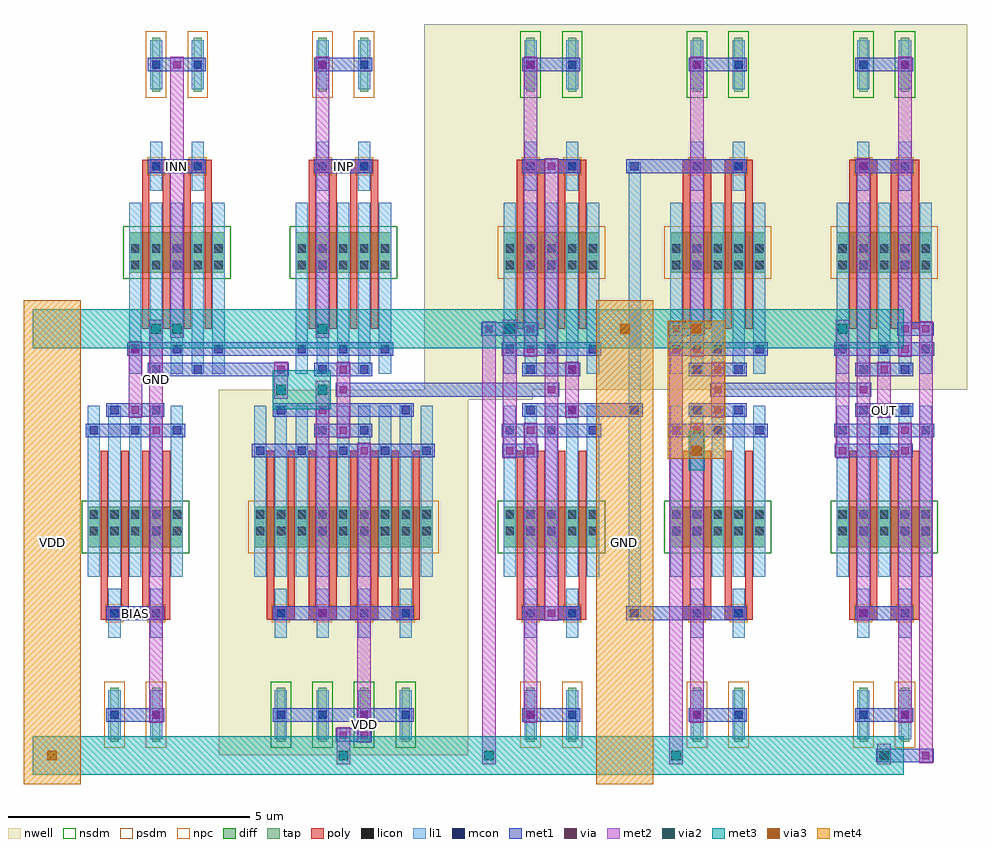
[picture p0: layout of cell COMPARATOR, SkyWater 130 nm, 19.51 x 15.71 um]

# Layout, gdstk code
import gdstk
lib = gdstk.Library(unit=1e-6, precision=1e-09)
def R(c, l, rs):  # rectangles x0, y0, x1, y1
    for r in rs: c.add(gdstk.rectangle(r[:2], r[2:], *l))
def A(c, l, x, y, w, h, nx, ny, dx, dy):  # array of equal rectangles
    R(c, l, [(x+i*dx, y+j*dy, x+i*dx+w, y+j*dy+h) for i in range(nx) for j in range(ny)])
nwell = (64, 20)
diff = (65, 20)
tap = (65, 44)
poly = (66, 20)
licon = (66, 44)
li1 = (67, 20)
mcon = (67, 44)
met1 = (68, 20)
via = (68, 44)
met2 = (69, 20)
via2 = (69, 44)
met3 = (70, 20)
via3 = (70, 44)
met4 = (71, 20)
nsdm = (93, 44)
psdm = (94, 20)
npc = (95, 20)

comparator = lib.new_cell('COMPARATOR')
R(comparator, nwell, [(4.03,0.59,9.19,7.94), (4.03,7.94,10.53,8.15), (8.28,8.15,19.51,15.71)])
A(comparator, diff, 9.925, 4.895, 1.97, 0.84, 3, 2, 3.44, 5.67)
R(comparator, diff, [(1.325,4.895,3.295,5.735), (4.765,4.895,8.455,5.735), (2.185,10.565,4.155,11.405), (5.625,10.565,7.595,11.405)])
A(comparator, tap, 5.235, 0.87, 0.17, 1.12, 4, 1, 0.86, 0)
R(comparator, tap, [(1.795,0.87,1.965,1.99), (2.655,0.87,2.825,1.99), (10.395,0.87,10.565,1.99), (11.255,0.87,11.425,1.99), (13.835,0.87,14.005,1.99), (14.695,0.87,14.865,1.99), (17.275,0.87,17.445,1.99), (18.135,0.87,18.305,1.99), (2.655,14.31,2.825,15.43), (3.515,14.31,3.685,15.43), (6.095,14.31,6.265,15.43), (6.955,14.31,7.125,15.43), (10.395,14.31,10.565,15.43), (11.255,14.31,11.425,15.43), (13.835,14.31,14.005,15.43), (14.695,14.31,14.865,15.43), (17.275,14.31,17.445,15.43), (18.135,14.31,18.305,15.43)])
A(comparator, poly, 5.03, 3.395, 0.58, 0.27, 4, 1, 0.86, 0)
A(comparator, poly, 1.59, 3.665, 0.15, 3.225, 4, 1, 0.43, 0)
A(comparator, poly, 5.03, 3.665, 0.15, 3.225, 8, 1, 0.43, 0)
A(comparator, poly, 10.19, 3.665, 0.15, 3.225, 4, 2, 0.43, 5.745)
A(comparator, poly, 13.63, 3.665, 0.15, 3.225, 4, 2, 0.43, 5.745)
A(comparator, poly, 17.07, 3.665, 0.15, 3.225, 4, 2, 0.43, 5.745)
A(comparator, poly, 2.45, 9.41, 0.15, 3.225, 4, 1, 0.43, 0)
A(comparator, poly, 5.89, 9.41, 0.15, 3.225, 4, 1, 0.43, 0)
R(comparator, poly, [(1.59,3.395,2.17,3.665), (2.45,3.395,3.03,3.665), (10.19,3.395,10.77,3.665), (11.05,3.395,11.63,3.665), (13.63,3.395,14.21,3.665), (14.49,3.395,15.07,3.665), (17.07,3.395,17.65,3.665), (17.93,3.395,18.51,3.665), (2.45,12.635,3.03,12.905), (3.31,12.635,3.89,12.905), (5.89,12.635,6.47,12.905), (6.75,12.635,7.33,12.905), (10.19,12.635,10.77,12.905), (11.05,12.635,11.63,12.905), (13.63,12.635,14.21,12.905), (14.49,12.635,15.07,12.905), (17.07,12.635,17.65,12.905), (17.93,12.635,18.51,12.905)])
A(comparator, licon, 5.235, 1.345, 0.17, 0.17, 4, 2, 0.86, 2.1)
A(comparator, licon, 1.365, 5.145, 0.17, 0.17, 5, 2, 0.43, 0.34)
A(comparator, licon, 4.805, 5.145, 0.17, 0.17, 9, 2, 0.43, 0.34)
A(comparator, licon, 9.965, 5.145, 0.17, 0.17, 5, 2, 0.43, 0.34)
A(comparator, licon, 13.405, 5.145, 0.17, 0.17, 5, 2, 0.43, 0.34)
A(comparator, licon, 16.845, 5.145, 0.17, 0.17, 5, 2, 0.43, 0.34)
A(comparator, licon, 2.225, 10.645, 0.17, 0.17, 5, 2, 0.43, 0.34)
A(comparator, licon, 5.665, 10.645, 0.17, 0.17, 5, 2, 0.43, 0.34)
A(comparator, licon, 9.965, 10.645, 0.17, 0.17, 5, 2, 0.43, 0.34)
A(comparator, licon, 13.405, 10.645, 0.17, 0.17, 5, 2, 0.43, 0.34)
A(comparator, licon, 16.845, 10.645, 0.17, 0.17, 5, 2, 0.43, 0.34)
R(comparator, licon, [(1.795,1.345,1.965,1.515), (2.655,1.345,2.825,1.515), (10.395,1.345,10.565,1.515), (11.255,1.345,11.425,1.515), (13.835,1.345,14.005,1.515), (14.695,1.345,14.865,1.515), (17.275,1.345,17.445,1.515), (18.135,1.345,18.305,1.515), (1.795,3.445,1.965,3.615), (2.655,3.445,2.825,3.615), (10.395,3.445,10.565,3.615), (11.255,3.445,11.425,3.615), (13.835,3.445,14.005,3.615), (14.695,3.445,14.865,3.615), (17.275,3.445,17.445,3.615), (18.135,3.445,18.305,3.615), (2.655,12.685,2.825,12.855), (3.515,12.685,3.685,12.855), (6.095,12.685,6.265,12.855), (6.955,12.685,7.125,12.855), (10.395,12.685,10.565,12.855), (11.255,12.685,11.425,12.855), (13.835,12.685,14.005,12.855), (14.695,12.685,14.865,12.855), (17.275,12.685,17.445,12.855), (18.135,12.685,18.305,12.855), (2.655,14.785,2.825,14.955), (3.515,14.785,3.685,14.955), (6.095,14.785,6.265,14.955), (6.955,14.785,7.125,14.955), (10.395,14.785,10.565,14.955), (11.255,14.785,11.425,14.955), (13.835,14.785,14.005,14.955), (14.695,14.785,14.865,14.955), (17.275,14.785,17.445,14.955), (18.135,14.785,18.305,14.955)])
A(comparator, li1, 5.195, 0.925, 0.25, 1.01, 4, 2, 0.86, 2.1)
A(comparator, li1, 1.325, 4.285, 0.25, 3.53, 5, 1, 0.43, 0)
A(comparator, li1, 4.765, 4.285, 0.25, 3.53, 9, 1, 0.43, 0)
A(comparator, li1, 9.925, 4.285, 0.25, 3.53, 5, 2, 0.43, 4.2)
A(comparator, li1, 13.365, 4.285, 0.25, 3.53, 5, 2, 0.43, 4.2)
A(comparator, li1, 16.805, 4.285, 0.25, 3.53, 5, 2, 0.43, 4.2)
A(comparator, li1, 2.185, 8.485, 0.25, 3.53, 5, 1, 0.43, 0)
A(comparator, li1, 5.625, 8.485, 0.25, 3.53, 5, 1, 0.43, 0)
R(comparator, li1, [(1.755,0.925,2.005,1.935), (2.615,0.925,2.865,1.935), (10.355,0.925,10.605,1.935), (11.215,0.925,11.465,1.935), (13.795,0.925,14.045,1.935), (14.655,0.925,14.905,1.935), (17.235,0.925,17.485,1.935), (18.095,0.925,18.345,1.935), (1.755,3.025,2.005,4.035), (2.615,3.025,2.865,4.035), (10.355,3.025,10.605,4.035), (11.215,3.025,11.465,4.035), (13.795,3.025,14.045,4.035), (14.655,3.025,14.905,4.035), (17.235,3.025,17.485,4.035), (18.095,3.025,18.345,4.035), (12.505,3.445,12.755,12.855), (2.615,12.265,2.865,13.275), (3.475,12.265,3.725,13.275), (6.055,12.265,6.305,13.275), (6.915,12.265,7.165,13.275), (10.355,12.265,10.605,13.275), (11.215,12.265,11.465,13.275), (13.795,12.265,14.045,13.275), (14.655,12.265,14.905,13.275), (17.235,12.265,17.485,13.275), (18.095,12.265,18.345,13.275), (2.615,14.365,2.865,15.375), (3.475,14.365,3.725,15.375), (6.055,14.365,6.305,15.375), (6.915,14.365,7.165,15.375), (10.355,14.365,10.605,15.375), (11.215,14.365,11.465,15.375), (13.795,14.365,14.045,15.375), (14.655,14.365,14.905,15.375), (17.235,14.365,17.485,15.375), (18.095,14.365,18.345,15.375)])
A(comparator, mcon, 5.235, 1.345, 0.17, 0.17, 4, 2, 0.86, 2.1)
A(comparator, mcon, 11.255, 3.445, 0.17, 0.17, 3, 2, 1.29, 4.2)
A(comparator, mcon, 4.805, 6.805, 0.17, 0.17, 5, 1, 0.86, 0)
A(comparator, mcon, 1.365, 7.225, 0.17, 0.17, 3, 1, 0.86, 0)
A(comparator, mcon, 9.965, 7.225, 0.17, 0.17, 3, 2, 0.86, 1.68)
A(comparator, mcon, 13.405, 7.225, 0.17, 0.17, 3, 2, 0.86, 1.68)
A(comparator, mcon, 16.845, 7.225, 0.17, 0.17, 3, 2, 0.86, 1.68)
A(comparator, mcon, 2.655, 7.645, 0.17, 0.17, 4, 1, 2.58, 0)
A(comparator, mcon, 2.225, 8.905, 0.17, 0.17, 3, 1, 0.86, 0)
A(comparator, mcon, 5.665, 8.905, 0.17, 0.17, 3, 1, 0.86, 0)
A(comparator, mcon, 11.255, 12.685, 0.17, 0.17, 3, 1, 1.29, 0)
R(comparator, mcon, [(1.795,1.345,1.965,1.515), (2.655,1.345,2.825,1.515), (10.395,1.345,10.565,1.515), (11.255,1.345,11.425,1.515), (13.835,1.345,14.005,1.515), (14.695,1.345,14.865,1.515), (17.275,1.345,17.445,1.515), (18.135,1.345,18.305,1.515), (1.795,3.445,1.965,3.615), (2.655,3.445,2.825,3.615), (10.395,3.445,10.565,3.615), (14.695,3.445,14.865,3.615), (17.275,3.445,17.445,3.615), (18.135,3.445,18.305,3.615), (6.095,7.225,6.265,7.395), (6.955,7.225,7.125,7.395), (1.795,7.645,1.965,7.815), (14.695,7.645,14.865,7.815), (17.275,7.645,17.445,7.815), (18.135,7.645,18.305,7.815), (2.655,8.485,2.825,8.655), (3.515,8.485,3.685,8.655), (6.095,8.485,6.265,8.655), (6.955,8.485,7.125,8.655), (10.395,8.485,10.565,8.655), (11.255,8.485,11.425,8.655), (13.835,8.485,14.005,8.655), (14.695,8.485,14.865,8.655), (17.275,8.485,17.445,8.655), (18.135,8.485,18.305,8.655), (2.655,12.685,2.825,12.855), (3.515,12.685,3.685,12.855), (6.095,12.685,6.265,12.855), (6.955,12.685,7.125,12.855), (10.395,12.685,10.565,12.855), (14.695,12.685,14.865,12.855), (17.275,12.685,17.445,12.855), (18.135,12.685,18.305,12.855), (2.655,14.785,2.825,14.955), (3.515,14.785,3.685,14.955), (6.095,14.785,6.265,14.955), (6.955,14.785,7.125,14.955), (10.395,14.785,10.565,14.955), (11.255,14.785,11.425,14.955), (13.835,14.785,14.005,14.955), (14.695,14.785,14.865,14.955), (17.275,14.785,17.445,14.955), (18.135,14.785,18.305,14.955)])
A(comparator, met1, 10.31, 1.29, 1.2, 0.28, 3, 2, 3.44, 7.14)
A(comparator, met1, 9.88, 7.17, 2.06, 0.28, 3, 2, 3.44, 1.68)
A(comparator, met1, 10.31, 14.73, 1.2, 0.28, 3, 1, 3.44, 0)
R(comparator, met1, [(17.63,0.45,18.81,0.73), (6.45,0.87,7.2,1.15), (1.71,1.29,2.91,1.57), (5.15,1.29,8.07,1.57), (1.71,3.39,2.91,3.67), (5.15,3.39,8.07,3.67), (10.31,3.39,11.51,3.67), (12.46,3.39,14.95,3.67), (17.19,3.39,18.39,3.67), (4.72,6.75,8.5,7.03), (9.89,6.75,10.64,7.03), (16.77,6.75,18.38,7.03), (1.28,7.17,3.34,7.45), (6.01,7.17,7.21,7.45), (1.71,7.59,2.91,7.87), (5.15,7.59,8.07,7.87), (10.31,7.59,12.8,7.87), (13.75,7.59,14.95,7.87), (17.19,7.59,18.39,7.87), (6.45,8.01,11.07,8.29), (14.19,8.01,17.52,8.29), (2.57,8.43,5.48,8.71), (6.01,8.43,7.21,8.71), (2.14,8.85,7.64,9.13), (9.46,9.27,10.64,9.55), (13.33,9.27,14.08,9.55), (18.06,9.27,18.81,9.55), (2.57,12.63,3.77,12.91), (6.01,12.63,7.21,12.91), (10.31,12.63,11.51,12.91), (12.46,12.63,14.95,12.91), (17.19,12.63,18.39,12.91), (2.57,14.73,3.77,15.01), (6.01,14.73,7.21,15.01)])
A(comparator, via, 6.965, 1.355, 0.15, 0.15, 3, 1, 3.44, 0)
A(comparator, via, 10.835, 3.455, 0.15, 0.15, 1, 3, 0, 4.62)
A(comparator, via, 17.285, 3.455, 0.15, 0.15, 1, 3, 0, 4.62)
A(comparator, via, 2.665, 7.235, 0.15, 0.15, 3, 1, 3.87, 0)
A(comparator, via, 14.275, 7.655, 0.15, 0.15, 1, 3, 0, 0.42)
R(comparator, via, [(17.715,0.515,17.865,0.665), (18.575,0.515,18.725,0.665), (6.535,0.935,6.685,1.085), (6.965,0.935,7.115,1.085), (2.665,1.355,2.815,1.505), (18.145,1.355,18.295,1.505), (6.105,3.455,6.255,3.605), (6.965,6.815,7.115,6.965), (9.975,6.815,10.125,6.965), (10.405,6.815,10.555,6.965), (16.855,6.815,17.005,6.965), (18.145,6.815,18.295,6.965), (13.845,7.235,13.995,7.385), (18.145,7.235,18.295,7.385), (2.235,7.655,2.385,7.805), (6.105,7.655,6.255,7.805), (11.265,7.655,11.415,7.805), (17.715,7.655,17.865,7.805), (6.535,8.075,6.685,8.225), (5.245,8.495,5.395,8.645), (6.535,8.495,6.685,8.645), (11.265,8.495,11.415,8.645), (17.715,8.495,17.865,8.645), (2.235,8.915,2.385,9.065), (10.405,8.915,10.555,9.065), (13.845,8.915,13.995,9.065), (18.145,8.915,18.295,9.065), (9.545,9.335,9.695,9.485), (10.405,9.335,10.555,9.485), (13.415,9.335,13.565,9.485), (13.845,9.335,13.995,9.485), (18.145,9.335,18.295,9.485), (18.575,9.335,18.725,9.485), (3.095,14.795,3.245,14.945), (6.105,14.795,6.255,14.945), (10.405,14.795,10.555,14.945), (13.845,14.795,13.995,14.945), (18.145,14.795,18.295,14.945)])
R(comparator, met2, [(6.47,0.405,6.75,1.17), (9.48,0.405,9.76,9.57), (13.35,0.405,13.63,9.57), (17.65,0.405,17.93,0.83), (18.51,0.43,18.79,9.57), (6.9,0.85,7.18,7.05), (2.6,1.27,2.88,9.595), (10.34,1.27,10.62,7.47), (13.78,1.27,14.06,7.47), (18.08,1.27,18.36,7.47), (6.04,3.37,6.32,8.335), (10.77,3.37,11.05,12.93), (17.22,3.37,17.5,12.93), (9.91,6.73,10.19,9.595), (16.79,6.73,17.07,9.595), (6.47,7.15,6.75,8.73), (2.17,7.57,2.45,9.15), (11.2,7.57,11.48,8.73), (14.21,7.57,14.49,8.73), (17.65,7.57,17.93,8.73), (5.18,7.965,5.46,8.73), (10.34,8.83,10.62,15.03), (13.78,8.83,14.06,15.03), (18.08,8.83,18.36,15.03), (3.03,9.225,3.31,15.03), (6.04,9.225,6.32,15.03)])
R(comparator, via2, [(6.51,0.49,6.71,0.69), (9.52,0.49,9.72,0.69), (13.39,0.49,13.59,0.69), (17.69,0.49,17.89,0.69), (13.82,6.79,14.02,6.99), (5.22,8.05,5.42,8.25), (6.08,8.05,6.28,8.25), (2.64,9.31,2.84,9.51), (3.07,9.31,3.27,9.51), (6.08,9.31,6.28,9.51), (9.95,9.31,10.15,9.51), (16.83,9.31,17.03,9.51)])
R(comparator, met3, [(0.19,0.19,18.19,0.99), (13.745,6.49,14.085,7.29), (5.155,7.75,6.345,8.55), (0.19,9.01,18.19,9.81)])
R(comparator, via3, [(0.49,0.49,0.69,0.69), (13.81,6.79,14.01,6.99), (12.33,9.31,12.53,9.51), (13.81,9.31,14.01,9.51)])
R(comparator, met4, [(0,0,1.18,10), (11.84,0,13.02,10), (13.32,6.725,14.5,9.575)])
A(comparator, nsdm, 5.11, 0.745, 0.42, 1.37, 4, 1, 0.86, 0)
A(comparator, nsdm, 9.8, 4.77, 2.22, 1.09, 3, 1, 3.44, 0)
R(comparator, nsdm, [(1.2,4.77,3.42,5.86), (2.06,10.44,4.28,11.53), (5.5,10.44,7.72,11.53), (10.27,14.185,10.69,15.555), (11.13,14.185,11.55,15.555), (13.71,14.185,14.13,15.555), (14.57,14.185,14.99,15.555), (17.15,14.185,17.57,15.555), (18.01,14.185,18.43,15.555)])
A(comparator, psdm, 9.8, 10.44, 2.22, 1.09, 3, 1, 3.44, 0)
R(comparator, psdm, [(1.67,0.745,2.09,2.115), (2.53,0.745,2.95,2.115), (10.27,0.745,10.69,2.115), (11.13,0.745,11.55,2.115), (13.71,0.745,14.13,2.115), (14.57,0.745,14.99,2.115), (17.15,0.745,17.57,2.115), (18.01,0.745,18.43,2.115), (4.64,4.77,8.58,5.86), (2.53,14.185,2.95,15.555), (3.39,14.185,3.81,15.555), (5.97,14.185,6.39,15.555), (6.83,14.185,7.25,15.555)])
A(comparator, npc, 5.135, 3.345, 0.37, 0.37, 4, 1, 0.86, 0)
R(comparator, npc, [(1.695,3.345,2.065,3.715), (2.555,3.345,2.925,3.715), (10.295,3.345,10.665,3.715), (11.155,3.345,11.525,3.715), (13.735,3.345,14.105,3.715), (14.595,3.345,14.965,3.715), (17.175,3.345,17.545,3.715), (18.035,3.345,18.405,3.715), (2.555,12.585,2.925,12.955), (3.415,12.585,3.785,12.955), (5.995,12.585,6.365,12.955), (6.855,12.585,7.225,12.955), (10.295,12.585,10.665,12.955), (11.155,12.585,11.525,12.955), (13.735,12.585,14.105,12.955), (14.595,12.585,14.965,12.955), (17.175,12.585,17.545,12.955), (18.035,12.585,18.405,12.955)])
comparator.add(gdstk.Label('OUT', (17.79,7.73), layer=68, texttype=5))
comparator.add(gdstk.Label('BIAS', (2.31,3.53), layer=68, texttype=5))
comparator.add(gdstk.Label('INN', (3.17,12.77), layer=68, texttype=5))
comparator.add(gdstk.Label('INP', (6.61,12.77), layer=68, texttype=5))
comparator.add(gdstk.Label('GND', (2.74,8.36), layer=69, texttype=5))
comparator.add(gdstk.Label('GND', (12.43,5), layer=71, texttype=5))
comparator.add(gdstk.Label('VDD', (7.04,1.22), layer=69, texttype=5))
comparator.add(gdstk.Label('VDD', (0.59,5), layer=71, texttype=5))

lib.write_gds('COMPARATOR.gds')
